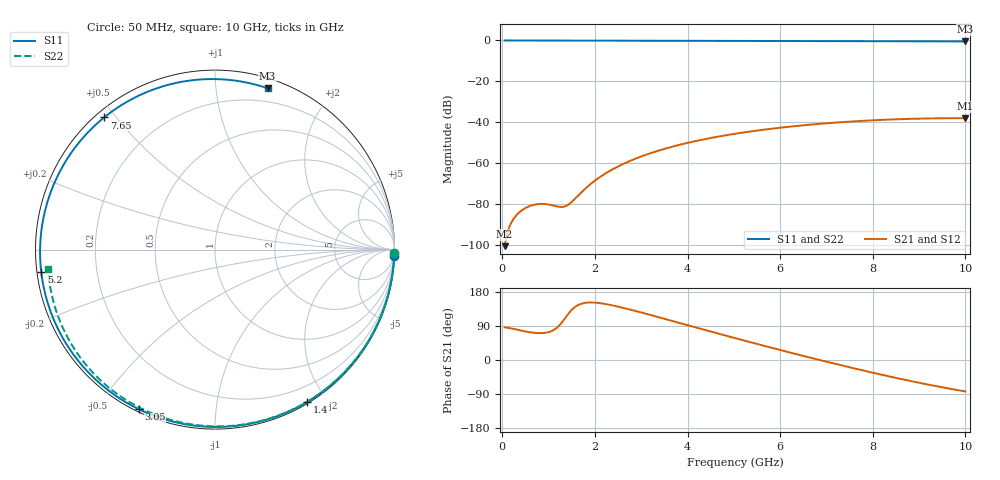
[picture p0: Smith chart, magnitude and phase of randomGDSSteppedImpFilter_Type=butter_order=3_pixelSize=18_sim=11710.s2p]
! freq	dB(S11)	phase(S11)	dB(S12)	phase(S12)
!  dB(S21)	phase(S21)	dB(S22)	phase(S22)
!S-par simulation data
#  GHz  S  DB  R 50
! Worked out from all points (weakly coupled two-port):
!   200 points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, 50 MHz to 10 GHz, reference 50 ohm
!   highest |S21| = -37.94 dB at 10 GHz (marker M1); lowest = -100.5 dB at 50 MHz (marker M2)
!   lowest |S11| = -0.5 dB at 10 GHz (marker M3), VSWR 35.57, Z = 4.07 + j68.7 ohm
!   |S11| at or under -10 dB: nowhere
!   |S22| runs from -0.6 to 0.0 dB; largest |S21 - S12| = 0
!   S11 on the Smith chart (normalised r, x): 50 MHz: 1, -54; 1.4 GHz: 0.02, -1.78; 3.05 GHz: 0.01, -0.63; 5.2 GHz: 0.01, -0.06; 7.65 GHz: 0.02, +0.47; 10 GHz: 0.08, +1.37
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0.05  -0.01 -2.1  -100.47 86.0  -100.47 86.0  -0.00 -1.0
0.35  -0.03 -15.2  -84.30 79.0  -84.30 79.0  -0.01 -7.0
0.65  -0.04 -28.1  -80.46 72.4  -80.46 72.4  -0.02 -13.0
1.05  -0.06 -44.8  -80.36 75.6  -80.36 75.6  -0.03 -21.0
1.4  -0.07 -58.8  -80.56 117.8  -80.56 117.8  -0.04 -27.9
1.45  -0.07 -60.7  -79.80 125.6  -79.80 125.6  -0.04 -28.9
1.5  -0.08 -62.7  -78.84 132.4  -78.84 132.4  -0.04 -29.8
1.75  -0.09 -72.1  -73.26 149.8  -73.26 149.8  -0.04 -34.7
2  -0.09 -81.2  -68.47 151.4  -68.47 151.4  -0.05 -39.5
2.3  -0.10 -91.6  -63.98 146.1  -63.98 146.1  -0.06 -45.2
2.65  -0.12 -103.1  -59.91 136.5  -59.91 136.5  -0.07 -51.8
3.05  -0.13 -115.6  -56.24 123.8  -56.24 123.8  -0.08 -59.2
3.4  -0.14 -125.9  -53.62 112.1  -53.62 112.1  -0.09 -65.6
4.2  -0.17 -147.7  -49.01 85.1  -49.01 85.1  -0.11 -79.7
5.05  -0.20 -169.0  -45.49 56.9  -45.49 56.9  -0.14 -94.2
5.2  -0.21 -172.6  -44.97 52.0  -44.97 52.0  -0.15 -96.7
5.95  -0.25 169.7  -42.75 28.0  -42.75 28.0  -0.19 -108.9
6.7  -0.29 152.2  -41.02 4.7  -41.02 4.7  -0.23 -120.8
7.65  -0.34 130.0  -39.43 -23.6  -39.43 -23.6  -0.31 -135.7
8.35  -0.39 113.3  -38.64 -43.2  -38.64 -43.2  -0.37 -146.7
9.2  -0.44 92.3  -38.09 -65.0  -38.09 -65.0  -0.47 -160.2
10  -0.49 72.0  -37.94 -83.0  -37.94 -83.0  -0.58 -173.4
